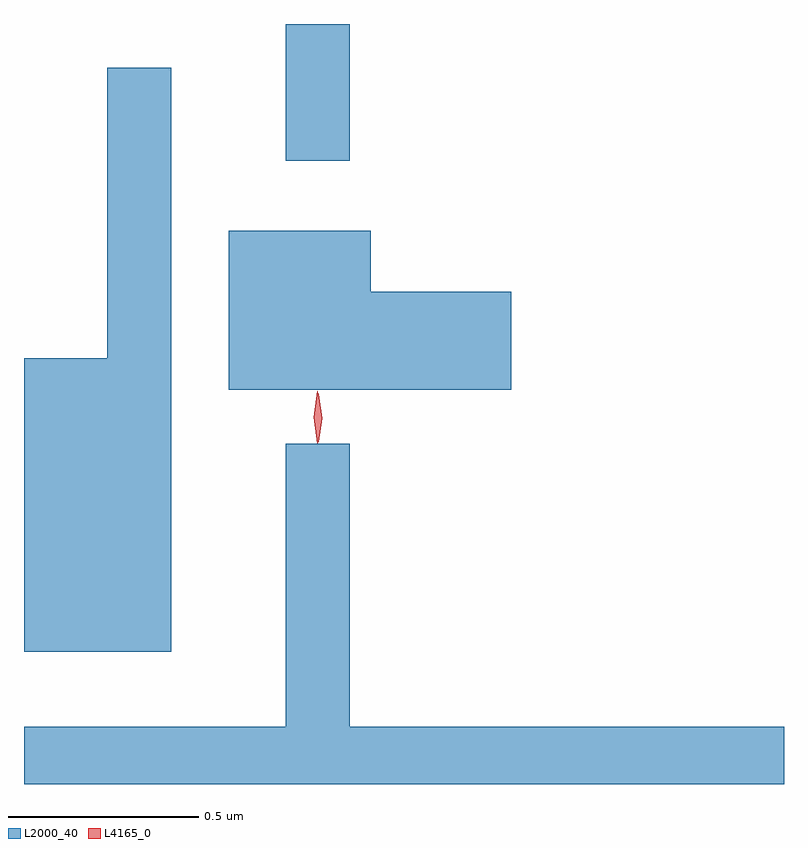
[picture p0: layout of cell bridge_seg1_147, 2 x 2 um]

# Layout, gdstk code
import gdstk
lib = gdstk.Library(unit=1e-6, precision=1e-09)
def R(c, l, rs):  # rectangles x0, y0, x1, y1
    for r in rs: c.add(gdstk.rectangle(r[:2], r[2:], *l))
def P(c, l, *ps):  # polygons
    for p in ps: c.add(gdstk.Polygon(p, *l))
L2000_40 = (2000, 40)
L4165_0 = (4165, 0)

bridge_seg1_147 = lib.new_cell('bridge_seg1_147')
R(bridge_seg1_147, L2000_40, [(964.891,974.593,965.059,974.953)])
P(bridge_seg1_147, L2000_40, [(964.589,974.838),(964.421,974.838),(964.421,974.074),(964.202,974.074),(964.202,973.301),(964.589,973.301)],
  [(965.484,974.249),(965.114,974.249),(965.114,974.409),(964.741,974.409),(964.741,973.991),(965.484,973.991)],
  [(966.202,973.104),(965.059,973.104),(965.059,973.848),(964.891,973.848),(964.891,973.104),(964.202,973.104),(964.202,972.953),(966.202,972.953)])
P(bridge_seg1_147, L4165_0, [(964.974,973.85),(964.974,973.85),(964.964,973.918),(964.974,973.986),(964.974,973.986),(964.975,973.986),(964.984,973.918),(964.975,973.85)],
  [(964.977,973.853),(964.976,973.854),(964.967,973.916),(964.976,973.979),(964.977,973.98),(964.977,973.979),(964.987,973.916),(964.977,973.854)])

lib.write_gds('bridge_seg1_147.gds')
